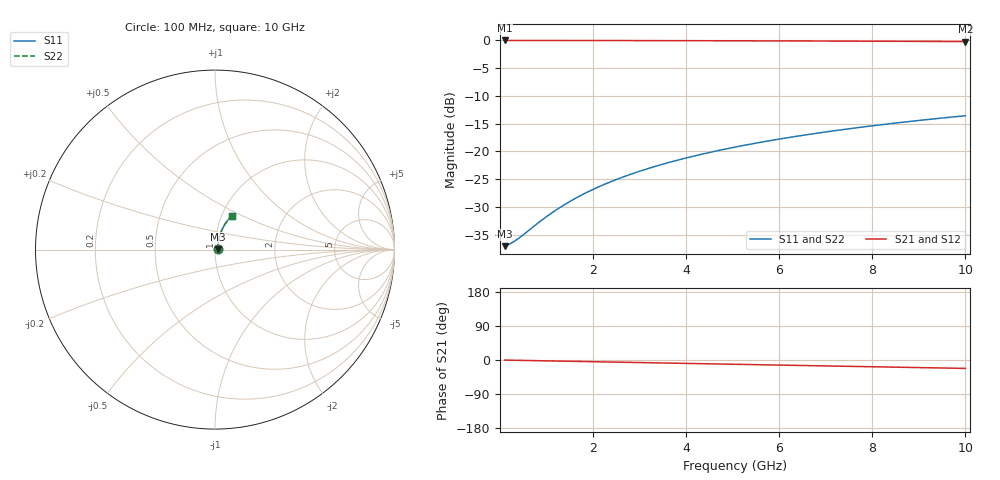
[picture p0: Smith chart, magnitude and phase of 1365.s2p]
# Hz S RI R 50.00
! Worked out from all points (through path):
!   100 points, 100 MHz to 10 GHz, reference 50 ohm
!   highest |S21| = -0.12 dB at 100 MHz (marker M1); lowest = -0.3 dB at 10 GHz (marker M2)
!   group delay of S21, straight-line fit = 6.16 ps
!   lowest |S11| = -37.0 dB at 100 MHz (marker M3), VSWR 1.03, Z = 51.4 + j0.217 ohm
!   |S11| at or under -10 dB: start of sweep to end of sweep
!   |S22| runs from -37.0 to -13.6 dB; largest |S21 - S12| = 0
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1e8  0.014 0.00211  0.986 -0.00387  0.986 -0.00387  0.014 0.00211
2e8  0.0141 0.00422  0.9859 -0.00773  0.9859 -0.00773  0.0141 0.00422
3e8  0.0142 0.00633  0.9858 -0.0116  0.9858 -0.0116  0.0142 0.00633
4e8  0.0143 0.00844  0.9856 -0.0155  0.9856 -0.0155  0.0143 0.00844
9e8  0.0151 0.019  0.9848 -0.0348  0.9848 -0.0348  0.0151 0.019
1.2e9  0.0157 0.0253  0.9841 -0.0463  0.9841 -0.0463  0.0157 0.0253
1.5e9  0.0164 0.0316  0.9832 -0.0579  0.9832 -0.0579  0.0164 0.0316
1.8e9  0.0173 0.0378  0.9822 -0.0694  0.9822 -0.0694  0.0173 0.0378
2.1e9  0.0183 0.0441  0.981 -0.0809  0.981 -0.0809  0.0183 0.0441
2.5e9  0.0199 0.0523  0.9791 -0.0962  0.9791 -0.0962  0.0199 0.0523
2.9e9  0.0217 0.0605  0.9769 -0.1114  0.9769 -0.1114  0.0217 0.0605
3.4e9  0.0243 0.0707  0.9738 -0.1304  0.9738 -0.1304  0.0243 0.0707
3.8e9  0.0267 0.0787  0.971 -0.1455  0.971 -0.1455  0.0267 0.0787
4.2e9  0.0294 0.0867  0.9678 -0.1604  0.9678 -0.1604  0.0294 0.0867
4.6e9  0.0322 0.0945  0.9644 -0.1753  0.9644 -0.1753  0.0322 0.0945
5.1e9  0.0362 0.1042  0.9597 -0.1938  0.9597 -0.1938  0.0362 0.1042
5.9e9  0.0432 0.1193  0.9513 -0.2229  0.9513 -0.2229  0.0432 0.1193
6.7e9  0.0511 0.1338  0.9418 -0.2516  0.9418 -0.2516  0.0511 0.1338
7.5e9  0.0599 0.1478  0.9312 -0.2797  0.9312 -0.2797  0.0599 0.1478
8.4e9  0.0707 0.1628  0.9181 -0.3105  0.9181 -0.3105  0.0707 0.1628
9.2e9  0.0811 0.1754  0.9055 -0.3372  0.9055 -0.3372  0.0811 0.1754
1e10  0.0922 0.1872  0.892 -0.3632  0.892 -0.3632  0.0922 0.1872
